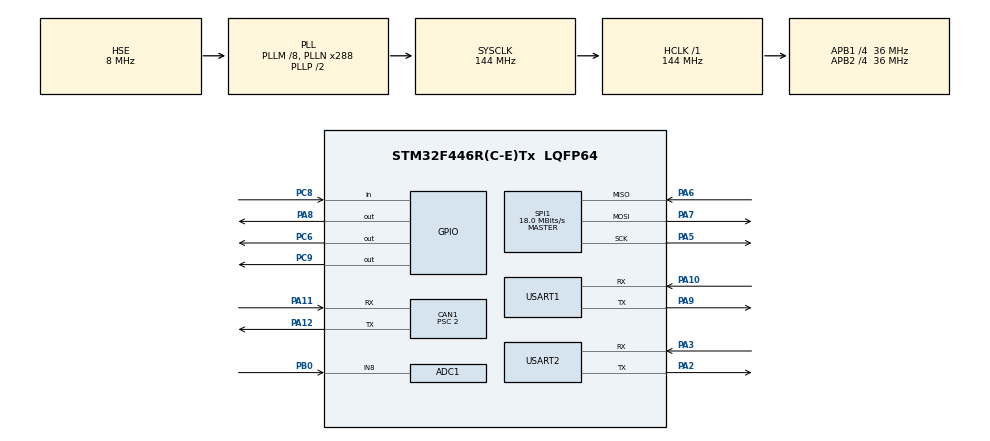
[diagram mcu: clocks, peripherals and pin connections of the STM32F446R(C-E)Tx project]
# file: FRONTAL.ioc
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ADC1.Channel-0\#ChannelRegularConversion=ADC_CHANNEL_8
ADC1.ContinuousConvMode=ENABLE
ADC1.DMAContinuousRequests=ENABLE
ADC1.NbrOfConversion=1
ADC1.NbrOfConversionFlag=1
ADC1.Rank-0\#ChannelRegularConversion=1
ADC1.SamplingTime-0\#ChannelRegularConversion=ADC_SAMPLETIME_3CYCLES
ADC1.ScanConvMode=ENABLE
ADC1.master=1
CAN1.AWUM=ENABLE
CAN1.BS1=CAN_BS1_12TQ
CAN1.BS2=CAN_BS2_5TQ
CAN1.CalculateTimeQuantum=55.55555555555556
CAN1.Prescaler=2
Dma.ADC1.0.Direction=DMA_PERIPH_TO_MEMORY
Dma.ADC1.0.FIFOMode=DMA_FIFOMODE_DISABLE
Dma.ADC1.0.Instance=DMA2_Stream0
Dma.ADC1.0.MemDataAlignment=DMA_MDATAALIGN_HALFWORD
Dma.ADC1.0.MemInc=DMA_MINC_ENABLE
Dma.ADC1.0.Mode=DMA_NORMAL
Dma.ADC1.0.PeriphDataAlignment=DMA_PDATAALIGN_HALFWORD
Dma.ADC1.0.PeriphInc=DMA_PINC_DISABLE
Dma.ADC1.0.Priority=DMA_PRIORITY_LOW
Dma.Request0=ADC1
Mcu.Family=STM32F4
Mcu.Name=STM32F446R(C-E)Tx
Mcu.Package=LQFP64
NVIC.ADC_IRQn=true\:0\:0\:false\:true\:true\:5\:true
NVIC.CAN1_RX0_IRQn=true\:0\:0\:false\:true\:true\:2\:true
NVIC.CAN1_RX1_IRQn=true\:0\:0\:false\:true\:true\:3\:true
NVIC.CAN1_SCE_IRQn=true\:0\:0\:false\:true\:true\:4\:true
NVIC.CAN1_TX_IRQn=true\:0\:0\:false\:true\:true\:1\:true
NVIC.DMA2_Stream0_IRQn=true\:0\:0\:false\:false\:true\:false
NVIC.PriorityGroup=NVIC_PRIORITYGROUP_4
NVIC.TIM2_IRQn=true\:0\:0\:false\:true\:true\:6\:true
NVIC.TIM4_IRQn=true\:0\:0\:false\:true\:true\:10\:true
NVIC.TIM5_IRQn=true\:0\:0\:false\:true\:true\:9\:true
NVIC.TIM6_DAC_IRQn=true\:0\:0\:false\:true\:true\:8\:true
NVIC.TIM7_IRQn=true\:0\:0\:false\:true\:true\:7\:true
PA10.Mode=Asynchronous
PA10.Signal=USART1_RX
PA11.GPIO_PuPd=GPIO_PULLUP
PA11.Mode=Master
PA11.Signal=CAN1_RX
PA12.Mode=Master
PA12.Signal=CAN1_TX
PA2.Mode=Asynchronous
PA2.Signal=USART2_TX
PA3.Mode=Asynchronous
PA3.Signal=USART2_RX
PA5.Mode=Full_Duplex_Master
PA5.Signal=SPI1_SCK
PA6.Mode=Full_Duplex_Master
PA6.Signal=SPI1_MISO
PA7.Mode=Full_Duplex_Master
PA7.Signal=SPI1_MOSI
PA8.GPIO_Speed=GPIO_SPEED_FREQ_VERY_HIGH
PA8.Signal=GPIO_Output
PA9.Mode=Asynchronous
PA9.Signal=USART1_TX
PB0.Signal=ADCx_IN8
PC6.GPIO_Speed=GPIO_SPEED_FREQ_VERY_HIGH
PC6.Signal=GPIO_Output
PC8.Signal=GPIO_Input
PC9.GPIO_Speed=GPIO_SPEED_FREQ_VERY_HIGH
PC9.Signal=GPIO_Output
PH0-OSC_IN.Mode=HSE-External-Clock-Source
PH0-OSC_IN.Signal=RCC_OSC_IN
PH1-OSC_OUT.Mode=HSE-External-Clock-Source
PH1-OSC_OUT.Signal=RCC_OSC_OUT
ProjectManager.HeapSize=0x200
ProjectManager.StackSize=0x400
ProjectManager.TargetToolchain=SW4STM32
RCC.AHBFreq_Value=144000000
RCC.APB1CLKDivider=RCC_HCLK_DIV4
RCC.APB1Freq_Value=36000000
RCC.APB1TimFreq_Value=72000000
RCC.APB2CLKDivider=RCC_HCLK_DIV4
RCC.APB2Freq_Value=36000000
RCC.APB2TimFreq_Value=72000000
RCC.CortexFreq_Value=144000000
RCC.HCLKFreq_Value=144000000
RCC.HSE_VALUE=8000000
RCC.PLLM=8
RCC.PLLN=288
RCC.PLLSourceVirtual=RCC_PLLSOURCE_HSE
RCC.SYSCLKFreq_VALUE=144000000
RCC.SYSCLKSource=RCC_SYSCLKSOURCE_PLLCLK
RCC.USBFreq_Value=144000000
RCC.VCOOutputFreq_Value=288000000
SH.ADCx_IN8.0=ADC1_IN8,IN8
SPI1.BaudRatePrescaler=SPI_BAUDRATEPRESCALER_2
SPI1.CalculateBaudRate=18.0 MBits/s
SPI1.Direction=SPI_DIRECTION_2LINES
SPI1.Mode=SPI_MODE_MASTER
SPI1.VirtualType=VM_MASTER
TIM2.Period=1000
TIM2.Prescaler=36
TIM3.Period=65500
TIM3.Prescaler=18
TIM4.Period=2000
TIM4.Prescaler=3600
TIM5.Period=2000
TIM5.Prescaler=3600
TIM6.Period=2000
TIM6.Prescaler=3600
TIM7.Period=2000
TIM7.Prescaler=3600
USART1.VirtualMode=VM_ASYNC
USART2.VirtualMode=VM_ASYNC
VP_TIM2_VS_ClockSourceINT.Mode=Internal
VP_TIM2_VS_ClockSourceITR.Mode=TriggerSource_ITR0
VP_TIM3_VS_ClockSourceINT.Mode=Internal
VP_TIM4_VS_ClockSourceINT.Mode=Internal
VP_TIM5_VS_ClockSourceINT.Mode=Internal
VP_TIM6_VS_ClockSourceINT.Mode=Enable_Timer
VP_TIM7_VS_ClockSourceINT.Mode=Enable_Timer
board=custom

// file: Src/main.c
/**
  ******************************************************************************
  * @file           : main.c
  * @brief          : Main program body
  ******************************************************************************
  ** This notice applies to any and all portions of this file
  * that are not between comment pairs USER CODE BEGIN and
  * USER CODE END. Other portions of this file, whether
  * inserted by the user or by software development tools
  * are owned by their respective copyright owners.
  *
  * COPYRIGHT(c) 2018 STMicroelectronics
  *
  * Redistribution and use in source and binary forms, with or without modification,
  * are permitted provided that the following conditions are met:
  *   1. Redistributions of source code must retain the above copyright notice,
  *      this list of conditions and the following disclaimer.
  *   2. Redistributions in binary form must reproduce the above copyright notice,
  *      this list of conditions and the following disclaimer in the documentation
  *      and/or other materials provided with the distribution.
  *   3. Neither the name of STMicroelectronics nor the names of its contributors
  *      may be used to endorse or promote products derived from this software
  *      without specific prior written permission.
  *
  * THIS SOFTWARE IS PROVIDED BY THE COPYRIGHT HOLDERS AND CONTRIBUTORS "AS IS"
  * AND ANY EXPRESS OR IMPLIED WARRANTIES, INCLUDING, BUT NOT LIMITED TO, THE
  * IMPLIED WARRANTIES OF MERCHANTABILITY AND FITNESS FOR A PARTICULAR PURPOSE ARE
  * DISCLAIMED. IN NO EVENT SHALL THE COPYRIGHT HOLDER OR CONTRIBUTORS BE LIABLE
  * FOR ANY DIRECT, INDIRECT, INCIDENTAL, SPECIAL, EXEMPLARY, OR CONSEQUENTIAL
  * DAMAGES (INCLUDING, BUT NOT LIMITED TO, PROCUREMENT OF SUBSTITUTE GOODS OR
  * SERVICES; LOSS OF USE, DATA, OR PROFITS; OR BUSINESS INTERRUPTION) HOWEVER
  * CAUSED AND ON ANY THEORY OF LIABILITY, WHETHER IN CONTRACT, STRICT LIABILITY,
  * OR TORT (INCLUDING NEGLIGENCE OR OTHERWISE) ARISING IN ANY WAY OUT OF THE USE
  * OF THIS SOFTWARE, EVEN IF ADVISED OF THE POSSIBILITY OF SUCH DAMAGE.
  *
  ******************************************************************************
  */
#include "main.h"
#include "stm32f4xx_hal.h"

/* USER CODE BEGIN Includes */
#include "Eagle_TRT.h"
#include "string.h"
#include "stdio.h"
#include "stdlib.h"
#include <inttypes.h>
#include "stm32f4xx_hal_gpio.h"
#include "stm32f4xx_it.h"
#include <math.h>
/* USER CODE END Includes */

ADC_HandleTypeDef hadc1;
DMA_HandleTypeDef hdma_adc1;

CAN_HandleTypeDef hcan1;

SPI_HandleTypeDef hspi1;

TIM_HandleTypeDef htim2;
TIM_HandleTypeDef htim3;
TIM_HandleTypeDef htim4;
TIM_HandleTypeDef htim5;
TIM_HandleTypeDef htim6;
TIM_HandleTypeDef htim7;

UART_HandleTypeDef huart1;
UART_HandleTypeDef huart2;

/* USER CODE BEGIN PV */
/* Private variables ---------------------------------------------------------*/

TIM_HandleTypeDef s_TimerInstance = {.Instance = TIM2};
TIM_HandleTypeDef a_TimerInstance = {.Instance = TIM3};
TIM_HandleTypeDef a_TimerInstance4 = {.Instance = TIM4};
TIM_HandleTypeDef a_TimerInstance5 = {.Instance = TIM5};
TIM_HandleTypeDef a_TimerInstance6 = {.Instance = TIM6};
TIM_HandleTypeDef a_TimerInstance7 = {.Instance = TIM7};

CAN_RxHeaderTypeDef RxHeader;
CAN_FilterTypeDef sFilter;
HAL_CAN_StateTypeDef state;
uint32_t full;
int val0_100, val1_100;
uint32_t valMax2, valMin2, val2rang;
uint32_t ADC_buffer[3], val[3];
uint8_t CheckControl[4];

char val0[256];
char value_Error[256];
/* USER CODE END PV */

void SystemClock_Config(void);
static void MX_GPIO_Init(void);
static void MX_DMA_Init(void);
static void MX_USART2_UART_Init(void);
static void MX_CAN1_Init(void);
static void MX_SPI1_Init(void);
static void MX_ADC1_Init(void);
static void MX_USART1_UART_Init(void);
static void MX_TIM2_Init(void);
static void MX_TIM3_Init(void);
static void MX_TIM4_Init(void);
static void MX_TIM5_Init(void);
static void MX_TIM6_Init(void);
static void MX_TIM7_Init(void);
static void MX_NVIC_Init(void);

/* USER CODE BEGIN PFP */
/* Private function prototypes -----------------------------------------------*/
/*
 * Error number 1 occur when the board does not receive data from the GPS like if the TX (of the GPS) cable is not connected
 * Error number 2 occur when the received data cannot be read from the board
 */

//GPS-->> Board
//RX -->> D2 = PA10
//TX -->> D8 = PA9

char requested_data_[50];
char bufferRX[100];
char bufferRX_prec[100];
int len_ = 5;
char sentences_[5][5] = {{"GPRMA"},{"GPRMC"},{"GPVTG"},{"GPVBW"},{"GPGGA"}};
int baud = 9600;
int fix = 0;//if the GPS is connected to satellites is 1 else is 0 if not connected else is -1 if I didn't found the data
int counter_A = 0;
int counter_B = 0;
int Error1 = 0;
int Error2 = 0;

//$GPRMC,225446,A,4916.45,N,12311.12,W,000.5,054.7,191194,020.3,E*68
//sentence example
/* USER CODE END PFP */

/* USER CODE BEGIN 0 */
void HAL_ADC_ConvCpltCallback(ADC_HandleTypeDef* hadc)
{
	for (int i = 0; i < 1; i++)
	{
		val[i] = ADC_buffer[i];
	}
}

int Error;

char G_ok[256] = "Gyro is OK!!\r\n";
char A_ok[256] = "Axel is OK!!\r\n";
char value_Error[256];
char value_G[256];
char value_A[256];

double encoder_speed = 0;
double array_angles[20];

float x_g_offset = 0, y_g_offset = 0, z_g_offset = 0;
float x_a_offset = 0, y_a_offset = 0, z_a_offset = 0;
//float val_g_x, val_g_y, val_g_z;
//float val_a_x, val_a_y, val_a_z;
float x_g_axis, y_g_axis, z_g_axis;
float x_a_axis, y_a_axis, z_a_axis;

/* USER CODE END 0 */

int main(void)
{

  /* MCU Configuration----------------------------------------------------------*/

  /* Reset of all peripherals, Initializes the Flash interface and the Systick. */
  HAL_Init();

  /* Configure the system clock */
  SystemClock_Config();

  /* Initialize all configured peripherals */
  MX_GPIO_Init();
  MX_DMA_Init();
  MX_USART2_UART_Init();
  MX_CAN1_Init();
  MX_SPI1_Init();
  MX_ADC1_Init();
  MX_USART1_UART_Init();
  MX_TIM2_Init();
  MX_TIM3_Init();
  MX_TIM4_Init();
  MX_TIM5_Init();
  MX_TIM6_Init();
  MX_TIM7_Init();

  /* Initialize interrupts */
  MX_NVIC_Init();
  /* USER CODE BEGIN 2 */
  valMax2 = 4095;
  valMin2 = 2340;
  val2rang = abs(valMax2 - valMin2);

  ///GPS///

  GPS_INIT(&huart1);
  gyro_init(&hspi1);
  magn_accel_init(&hspi1);

  GPS_Awake();

  double speed = 0;
  double latitude;
  double longitude;
  char txt[20];

  char* char_speed;
  char* char_latitude;
  char* char_longitude;
  char* char_N;
  char* char_W;

  gyro_calib(&hspi1, &x_g_offset, &y_g_offset, &z_g_offset);
  accel_calib(&hspi1, &x_a_offset, &y_a_offset, &z_a_offset);

  sFilter.FilterMode = CAN_FILTERMODE_IDMASK;
  sFilter.FilterIdLow = 0;
  sFilter.FilterIdHigh = 0;
  sFilter.FilterMaskIdHigh = 0;
  sFilter.FilterMaskIdLow = 0;
  sFilter.FilterFIFOAssignment = CAN_FILTER_FIFO0;
  sFilter.FilterBank = 0;
  sFilter.FilterScale  = CAN_FILTERSCALE_16BIT;
  sFilter.FilterActivation = ENABLE;
  HAL_CAN_ConfigFilter(&hcan1, &sFilter);

  HAL_CAN_Start(&hcan1);

  HAL_CAN_ActivateNotification(&hcan1, CAN1_RX0_IRQn);
  HAL_CAN_ActivateNotification(&hcan1, CAN1_RX1_IRQn);

  HAL_TIM_Base_Start(&htim2);
  HAL_TIM_Base_Start(&htim3);
  HAL_TIM_Base_Start(&htim4);
  HAL_TIM_Base_Start(&htim5);
  HAL_TIM_Base_Start(&htim6);
  HAL_TIM_Base_Start(&htim7);

  __HAL_TIM_SET_COUNTER(&a_TimerInstance, 0);
  __HAL_TIM_SET_COUNTER(&s_TimerInstance, 0);
  __HAL_TIM_SET_COUNTER(&a_TimerInstance4, 333);
  __HAL_TIM_SET_COUNTER(&a_TimerInstance5, 666);
  __HAL_TIM_SET_COUNTER(&a_TimerInstance6, 0);
  __HAL_TIM_SET_COUNTER(&a_TimerInstance7, 0);

  HAL_TIM_Base_Start_IT(&htim2);
  HAL_TIM_Base_Start_IT(&htim4);
  HAL_TIM_Base_Start_IT(&htim5);
  HAL_TIM_Base_Start_IT(&htim6);
  HAL_TIM_Base_Start_IT(&htim7);

  /* USER CODE END 2 */

  /* Infinite loop */
  while (1)
  {

  /* USER CODE BEGIN 3 */
	  Error = 0;
	  uint8_t CanSendMSG[8];
	  uint8_t RxData[8];

	  ///Check for Errors
	  Error = LSMD9S0_check(&hspi1); //IMU IS DISCONNECTED? 0 = 0K ; 1 = G_NOTOK ; 2 = A_NOTOK

	  ///GPS///
	  //delete all the characters in the buffer
	  for(int i = 0; i < 100; i++){
		  bufferRX[i] = '-';
	  }

	  //receive the data
	  HAL_UART_Receive(&huart1, (uint8_t*)bufferRX, strlen(bufferRX), 15);
	  //print(bufferRX);

	  if(Error1 == 0 || Error2 == 0){
		  //if the data has a known sentence, get the requested data in the right position
		  switch(Get_Sentence(bufferRX, sentences_, len_)){
			case 0:										//GPRMA
				break;

			case 1:										//GPRMC
				break;

			case 2:										//GPVTG
				char_speed = Get_Requested_Data(bufferRX, 7, requested_data_);
				speed = atof(char_speed);
				speed = speed * 100; //2 decimals

				speed = (int)speed;

				int16_t speed_Send = speed;

				//GPS Velocity
				CanSendMSG[0] = 0x03;
				CanSendMSG[1] = speed_Send / 256;
				CanSendMSG[2] = speed_Send % 256;
				CanSendMSG[3] = 0;
				CanSendMSG[4] = 0;
				CanSendMSG[5] = 0;
				CanSendMSG[6] = Error1;
				CanSendMSG[7] = 0;

				CAN_Send(&hcan1, 0xD0, CanSendMSG, 8);

				break;

			case 3:										//GPVBW
				break;

			case 4:
				/*char_latitude = Get_Requested_Data(2);
				latitude = atof(char_latitude);
				latitude = latitude * 10000;

				char_N = Get_Requested_Data(3);

				char_longitude = Get_Requested_Data(4);
				longitude = atof(char_longitude);
				longitude = longitude * 10000;

				char_W = Get_Requested_Data(5);

				//sprintf(txt, "%d", (int)latitude);

				if(latitude != 0){
					//print(txt);
				}
				//print(txt);*/

				break;

			default:
			  break;
		  }

	  }

	  //sprintf(txt, "%d \t %d \t %d \t %d \t %d", (int)(encoder_speed * 100), (int)(speed*100), (int)val0_100, (int)val[0], (int)y_a_axis);
	  //print(&huart2, txt);

	  strcpy(bufferRX_prec, bufferRX);
  }
  /* USER CODE END 3 */

}

void SystemClock_Config(void)
{

  RCC_OscInitTypeDef RCC_OscInitStruct;
  RCC_ClkInitTypeDef RCC_ClkInitStruct;

    /**Configure the main internal regulator output voltage
    */
  __HAL_RCC_PWR_CLK_ENABLE();

  __HAL_PWR_VOLTAGESCALING_CONFIG(PWR_REGULATOR_VOLTAGE_SCALE1);

    /**Initializes the CPU, AHB and APB busses clocks
    */
  RCC_OscInitStruct.OscillatorType = RCC_OSCILLATORTYPE_HSE;
  RCC_OscInitStruct.HSEState = RCC_HSE_BYPASS;
  RCC_OscInitStruct.PLL.PLLState = RCC_PLL_ON;
  RCC_OscInitStruct.PLL.PLLSource = RCC_PLLSOURCE_HSE;
  RCC_OscInitStruct.PLL.PLLM = 8;
  RCC_OscInitStruct.PLL.PLLN = 288;
  RCC_OscInitStruct.PLL.PLLP = RCC_PLLP_DIV2;
  RCC_OscInitStruct.PLL.PLLQ = 2;
  RCC_OscInitStruct.PLL.PLLR = 2;
  if (HAL_RCC_OscConfig(&RCC_OscInitStruct) != HAL_OK)
  {
    _Error_Handler(__FILE__, __LINE__);
  }

    /**Initializes the CPU, AHB and APB busses clocks
    */
  RCC_ClkInitStruct.ClockType = RCC_CLOCKTYPE_HCLK|RCC_CLOCKTYPE_SYSCLK
                              |RCC_CLOCKTYPE_PCLK1|RCC_CLOCKTYPE_PCLK2;
  RCC_ClkInitStruct.SYSCLKSource = RCC_SYSCLKSOURCE_PLLCLK;
  RCC_ClkInitStruct.AHBCLKDivider = RCC_SYSCLK_DIV1;
  RCC_ClkInitStruct.APB1CLKDivider = RCC_HCLK_DIV4;
  RCC_ClkInitStruct.APB2CLKDivider = RCC_HCLK_DIV4;

  if (HAL_RCC_ClockConfig(&RCC_ClkInitStruct, FLASH_LATENCY_4) != HAL_OK)
  {
    _Error_Handler(__FILE__, __LINE__);
  }

    /**Configure the Systick interrupt time
    */
  HAL_SYSTICK_Config(HAL_RCC_GetHCLKFreq()/1000);

    /**Configure the Systick
    */
  HAL_SYSTICK_CLKSourceConfig(SYSTICK_CLKSOURCE_HCLK);

  /* SysTick_IRQn interrupt configuration */
  HAL_NVIC_SetPriority(SysTick_IRQn, 0, 0);
}

/**
  * @brief NVIC Configuration.
  * @retval None
  */
static void MX_NVIC_Init(void)
{
  /* CAN1_TX_IRQn interrupt configuration */
  HAL_NVIC_SetPriority(CAN1_TX_IRQn, 0, 0);
  HAL_NVIC_EnableIRQ(CAN1_TX_IRQn);
  /* CAN1_RX0_IRQn interrupt configuration */
  HAL_NVIC_SetPriority(CAN1_RX0_IRQn, 0, 0);
  HAL_NVIC_EnableIRQ(CAN1_RX0_IRQn);
  /* CAN1_RX1_IRQn interrupt configuration */
  HAL_NVIC_SetPriority(CAN1_RX1_IRQn, 0, 0);
  HAL_NVIC_EnableIRQ(CAN1_RX1_IRQn);
  /* CAN1_SCE_IRQn interrupt configuration */
  HAL_NVIC_SetPriority(CAN1_SCE_IRQn, 0, 0);
  HAL_NVIC_EnableIRQ(CAN1_SCE_IRQn);
  /* ADC_IRQn interrupt configuration */
  HAL_NVIC_SetPriority(ADC_IRQn, 0, 0);
  HAL_NVIC_EnableIRQ(ADC_IRQn);
  /* TIM2_IRQn interrupt configuration */
  HAL_NVIC_SetPriority(TIM2_IRQn, 0, 0);
  HAL_NVIC_EnableIRQ(TIM2_IRQn);
  /* TIM7_IRQn interrupt configuration */
  HAL_NVIC_SetPriority(TIM7_IRQn, 0, 0);
  HAL_NVIC_EnableIRQ(TIM7_IRQn);
  /* TIM6_DAC_IRQn interrupt configuration */
  HAL_NVIC_SetPriority(TIM6_DAC_IRQn, 0, 0);
  HAL_NVIC_EnableIRQ(TIM6_DAC_IRQn);
  /* TIM5_IRQn interrupt configuration */
  HAL_NVIC_SetPriority(TIM5_IRQn, 0, 0);
  HAL_NVIC_EnableIRQ(TIM5_IRQn);
  /* TIM4_IRQn interrupt configuration */
  HAL_NVIC_SetPriority(TIM4_IRQn, 0, 0);
  HAL_NVIC_EnableIRQ(TIM4_IRQn);
}

/* ADC1 init function */
static void MX_ADC1_Init(void)
{

  ADC_ChannelConfTypeDef sConfig;

    /**Configure the global features of the ADC (Clock, Resolution, Data Alignment and number of conversion)
    */
  hadc1.Instance = ADC1;
  hadc1.Init.ClockPrescaler = ADC_CLOCK_SYNC_PCLK_DIV2;
  hadc1.Init.Resolution = ADC_RESOLUTION_12B;
  hadc1.Init.ScanConvMode = ENABLE;
  hadc1.Init.ContinuousConvMode = ENABLE;
  hadc1.Init.DiscontinuousConvMode = DISABLE;
  hadc1.Init.ExternalTrigConvEdge = ADC_EXTERNALTRIGCONVEDGE_NONE;
  hadc1.Init.ExternalTrigConv = ADC_SOFTWARE_START;
  hadc1.Init.DataAlign = ADC_DATAALIGN_RIGHT;
  hadc1.Init.NbrOfConversion = 1;
  hadc1.Init.DMAContinuousRequests = ENABLE;
  hadc1.Init.EOCSelection = ADC_EOC_SINGLE_CONV;
  if (HAL_ADC_Init(&hadc1) != HAL_OK)
  {
    _Error_Handler(__FILE__, __LINE__);
  }

    /**Configure for the selected ADC regular channel its corresponding rank in the sequencer and its sample time.
    */
  sConfig.Channel = ADC_CHANNEL_8;
  sConfig.Rank = 1;
  sConfig.SamplingTime = ADC_SAMPLETIME_3CYCLES;
  if (HAL_ADC_ConfigChannel(&hadc1, &sConfig) != HAL_OK)
  {
    _Error_Handler(__FILE__, __LINE__);
  }

}

/* CAN1 init function */
static void MX_CAN1_Init(void)
{

  hcan1.Instance = CAN1;
  hcan1.Init.Prescaler = 2;
  hcan1.Init.Mode = CAN_MODE_NORMAL;
  hcan1.Init.SyncJumpWidth = CAN_SJW_1TQ;
  hcan1.Init.TimeSeg1 = CAN_BS1_12TQ;
  hcan1.Init.TimeSeg2 = CAN_BS2_5TQ;
  hcan1.Init.TimeTriggeredMode = DISABLE;
  hcan1.Init.AutoBusOff = DISABLE;
  hcan1.Init.AutoWakeUp = ENABLE;
  hcan1.Init.AutoRetransmission = DISABLE;
  hcan1.Init.ReceiveFifoLocked = DISABLE;
  hcan1.Init.TransmitFifoPriority = DISABLE;
  if (HAL_CAN_Init(&hcan1) != HAL_OK)
  {
    _Error_Handler(__FILE__, __LINE__);
  }

}

/* SPI1 init function */
static void MX_SPI1_Init(void)
{

  /* SPI1 parameter configuration*/
  hspi1.Instance = SPI1;
  hspi1.Init.Mode = SPI_MODE_MASTER;
  hspi1.Init.Direction = SPI_DIRECTION_2LINES;
  hspi1.Init.DataSize = SPI_DATASIZE_8BIT;
  hspi1.Init.CLKPolarity = SPI_POLARITY_LOW;
  hspi1.Init.CLKPhase = SPI_PHASE_1EDGE;
  hspi1.Init.NSS = SPI_NSS_SOFT;
  hspi1.Init.BaudRatePrescaler = SPI_BAUDRATEPRESCALER_2;
  hspi1.Init.FirstBit = SPI_FIRSTBIT_MSB;
  hspi1.Init.TIMode = SPI_TIMODE_DISABLE;
  hspi1.Init.CRCCalculation = SPI_CRCCALCULATION_DISABLE;
  hspi1.Init.CRCPolynomial = 10;
  if (HAL_SPI_Init(&hspi1) != HAL_OK)
  {
    _Error_Handler(__FILE__, __LINE__);
  }

}

/* TIM2 init function */
static void MX_TIM2_Init(void)
{

  TIM_ClockConfigTypeDef sClockSourceConfig;
  TIM_SlaveConfigTypeDef sSlaveConfig;
  TIM_MasterConfigTypeDef sMasterConfig;

  htim2.Instance = TIM2;
  htim2.Init.Prescaler = 36;
  htim2.Init.CounterMode = TIM_COUNTERMODE_UP;
  htim2.Init.Period = 2000;
  htim2.Init.ClockDivision = TIM_CLOCKDIVISION_DIV1;
  if (HAL_TIM_Base_Init(&htim2) != HAL_OK)
  {
    _Error_Handler(__FILE__, __LINE__);
  }

  sClockSourceConfig.ClockSource = TIM_CLOCKSOURCE_INTERNAL;
  if (HAL_TIM_ConfigClockSource(&htim2, &sClockSourceConfig) != HAL_OK)
  {
    _Error_Handler(__FILE__, __LINE__);
  }

  sSlaveConfig.SlaveMode = TIM_SLAVEMODE_DISABLE;
  sSlaveConfig.InputTrigger = TIM_TS_ITR0;
  if (HAL_TIM_SlaveConfigSynchronization(&htim2, &sSlaveConfig) != HAL_OK)
  {
    _Error_Handler(__FILE__, __LINE__);
  }

  sMasterConfig.MasterOutputTrigger = TIM_TRGO_RESET;
  sMasterConfig.MasterSlaveMode = TIM_MASTERSLAVEMODE_DISABLE;
  if (HAL_TIMEx_MasterConfigSynchronization(&htim2, &sMasterConfig) != HAL_OK)
  {
    _Error_Handler(__FILE__, __LINE__);
  }

}

/* TIM3 init function */
static void MX_TIM3_Init(void)
{

  TIM_ClockConfigTypeDef sClockSourceConfig;
  TIM_MasterConfigTypeDef sMasterConfig;

  htim3.Instance = TIM3;
  htim3.Init.Prescaler = 18;
  htim3.Init.CounterMode = TIM_COUNTERMODE_UP;
  htim3.Init.Period = 65500;
  htim3.Init.ClockDivision = TIM_CLOCKDIVISION_DIV1;
  if (HAL_TIM_Base_Init(&htim3) != HAL_OK)
  {
    _Error_Handler(__FILE__, __LINE__);
  }

  sClockSourceConfig.ClockSource = TIM_CLOCKSOURCE_INTERNAL;
  if (HAL_TIM_ConfigClockSource(&htim3, &sClockSourceConfig) != HAL_OK)
  {
    _Error_Handler(__FILE__, __LINE__);
  }

  sMasterConfig.MasterOutputTrigger = TIM_TRGO_RESET;
  sMasterConfig.MasterSlaveMode = TIM_MASTERSLAVEMODE_DISABLE;
  if (HAL_TIMEx_MasterConfigSynchronization(&htim3, &sMasterConfig) != HAL_OK)
  {
    _Error_Handler(__FILE__, __LINE__);
  }

}

/* TIM4 init function */
static void MX_TIM4_Init(void)
{

  TIM_ClockConfigTypeDef sClockSourceConfig;
  TIM_MasterConfigTypeDef sMasterConfig;

  htim4.Instance = TIM4;
  htim4.Init.Prescaler = 3600;
  htim4.Init.CounterMode = TIM_COUNTERMODE_UP;
  htim4.Init.Period = 2000;
  htim4.Init.ClockDivision = TIM_CLOCKDIVISION_DIV1;
  if (HAL_TIM_Base_Init(&htim4) != HAL_OK)
  {
    _Error_Handler(__FILE__, __LINE__);
  }

  sClockSourceConfig.ClockSource = TIM_CLOCKSOURCE_INTERNAL;
  if (HAL_TIM_ConfigClockSource(&htim4, &sClockSourceConfig) != HAL_OK)
  {
    _Error_Handler(__FILE__, __LINE__);
  }

  sMasterConfig.MasterOutputTrigger = TIM_TRGO_RESET;
  sMasterConfig.MasterSlaveMode = TIM_MASTERSLAVEMODE_DISABLE;
  if (HAL_TIMEx_MasterConfigSynchronization(&htim4, &sMasterConfig) != HAL_OK)
  {
    _Error_Handler(__FILE__, __LINE__);
  }

}

/* TIM5 init function */
static void MX_TIM5_Init(void)
{

  TIM_ClockConfigTypeDef sClockSourceConfig;
  TIM_MasterConfigTypeDef sMasterConfig;

  htim5.Instance = TIM5;
  htim5.Init.Prescaler = 3600;
  htim5.Init.CounterMode = TIM_COUNTERMODE_UP;
  htim5.Init.Period = 2000;
  htim5.Init.ClockDivision = TIM_CLOCKDIVISION_DIV1;
  if (HAL_TIM_Base_Init(&htim5) != HAL_OK)
  {
    _Error_Handler(__FILE__, __LINE__);
  }

  sClockSourceConfig.ClockSource = TIM_CLOCKSOURCE_INTERNAL;
  if (HAL_TIM_ConfigClockSource(&htim5, &sClockSourceConfig) != HAL_OK)
  {
    _Error_Handler(__FILE__, __LINE__);
  }

  sMasterConfig.MasterOutputTrigger = TIM_TRGO_RESET;
  sMasterConfig.MasterSlaveMode = TIM_MASTERSLAVEMODE_DISABLE;
  if (HAL_TIMEx_MasterConfigSynchronization(&htim5, &sMasterConfig) != HAL_OK)
  {
    _Error_Handler(__FILE__, __LINE__);
  }

}

/* TIM6 init function */
static void MX_TIM6_Init(void)
{

  TIM_MasterConfigTypeDef sMasterConfig;

  htim6.Instance = TIM6;
  htim6.Init.Prescaler = 3600;
  htim6.Init.CounterMode = TIM_COUNTERMODE_UP;
  htim6.Init.Period = 2000;
  if (HAL_TIM_Base_Init(&htim6) != HAL_OK)
  {
    _Error_Handler(__FILE__, __LINE__);
  }

  sMasterConfig.MasterOutputTrigger = TIM_TRGO_RESET;
  sMasterConfig.MasterSlaveMode = TIM_MASTERSLAVEMODE_DISABLE;
  if (HAL_TIMEx_MasterConfigSynchronization(&htim6, &sMasterConfig) != HAL_OK)
  {
    _Error_Handler(__FILE__, __LINE__);
  }

}

/* TIM7 init function */
static void MX_TIM7_Init(void)
{

  TIM_MasterConfigTypeDef sMasterConfig;

  htim7.Instance = TIM7;
  htim7.Init.Prescaler = 3600;
  htim7.Init.CounterMode = TIM_COUNTERMODE_UP;
  htim7.Init.Period = 2000;
  if (HAL_TIM_Base_Init(&htim7) != HAL_OK)
  {
    _Error_Handler(__FILE__, __LINE__);
  }

  sMasterConfig.MasterOutputTrigger = TIM_TRGO_RESET;
  sMasterConfig.MasterSlaveMode = TIM_MASTERSLAVEMODE_DISABLE;
  if (HAL_TIMEx_MasterConfigSynchronization(&htim7, &sMasterConfig) != HAL_OK)
  {
    _Error_Handler(__FILE__, __LINE__);
  }

}

/* USART1 init function */
static void MX_USART1_UART_Init(void)
{

  huart1.Instance = USART1;
  huart1.Init.BaudRate = 115200;
  huart1.Init.WordLength = UART_WORDLENGTH_8B;
  huart1.Init.StopBits = UART_STOPBITS_1;
  huart1.Init.Parity = UART_PARITY_NONE;
  huart1.Init.Mode = UART_MODE_TX_RX;
  huart1.Init.HwFlowCtl = UART_HWCONTROL_NONE;
  huart1.Init.OverSampling = UART_OVERSAMPLING_16;
  if (HAL_UART_Init(&huart1) != HAL_OK)
  {
    _Error_Handler(__FILE__, __LINE__);
  }

}

/* USART2 init function */
static void MX_USART2_UART_Init(void)
{

  huart2.Instance = USART2;
  huart2.Init.BaudRate = 115200;
  huart2.Init.WordLength = UART_WORDLENGTH_8B;
  huart2.Init.StopBits = UART_STOPBITS_1;
  huart2.Init.Parity = UART_PARITY_NONE;
  huart2.Init.Mode = UART_MODE_TX_RX;
  huart2.Init.HwFlowCtl = UART_HWCONTROL_NONE;
  huart2.Init.OverSampling = UART_OVERSAMPLING_16;
  if (HAL_UART_Init(&huart2) != HAL_OK)
  {
    _Error_Handler(__FILE__, __LINE__);
  }

}

static void MX_DMA_Init(void)
{
  /* DMA controller clock enable */
  __HAL_RCC_DMA2_CLK_ENABLE();

  /* DMA interrupt init */
  /* DMA2_Stream0_IRQn interrupt configuration */
  HAL_NVIC_SetPriority(DMA2_Stream0_IRQn, 0, 0);
  HAL_NVIC_EnableIRQ(DMA2_Stream0_IRQn);

}

/** Configure pins as
        * Analog
        * Input
        * Output
        * EVENT_OUT
        * EXTI
*/
static void MX_GPIO_Init(void)
{

  GPIO_InitTypeDef GPIO_InitStruct;

  /* GPIO Ports Clock Enable */
  __HAL_RCC_GPIOH_CLK_ENABLE();
  __HAL_RCC_GPIOA_CLK_ENABLE();
  __HAL_RCC_GPIOB_CLK_ENABLE();
  __HAL_RCC_GPIOC_CLK_ENABLE();

  /*Configure GPIO pin Output Level */
  HAL_GPIO_WritePin(GPIOC, GPIO_PIN_6|GPIO_PIN_9, GPIO_PIN_RESET);

  /*Configure GPIO pin Output Level */
  HAL_GPIO_WritePin(GPIOA, GPIO_PIN_8, GPIO_PIN_RESET);

  /*Configure GPIO pins : PC6 PC9 */
  GPIO_InitStruct.Pin = GPIO_PIN_6|GPIO_PIN_9;
  GPIO_InitStruct.Mode = GPIO_MODE_OUTPUT_PP;
  GPIO_InitStruct.Pull = GPIO_NOPULL;
  GPIO_InitStruct.Speed = GPIO_SPEED_FREQ_VERY_HIGH;
  HAL_GPIO_Init(GPIOC, &GPIO_InitStruct);

  /*Configure GPIO pin : PC8 */
  GPIO_InitStruct.Pin = GPIO_PIN_8;
  GPIO_InitStruct.Mode = GPIO_MODE_INPUT;
  GPIO_InitStruct.Pull = GPIO_NOPULL;
  HAL_GPIO_Init(GPIOC, &GPIO_InitStruct);

  /*Configure GPIO pin : PA8 */
  GPIO_InitStruct.Pin = GPIO_PIN_8;
  GPIO_InitStruct.Mode = GPIO_MODE_OUTPUT_PP;
  GPIO_InitStruct.Pull = GPIO_NOPULL;
  GPIO_InitStruct.Speed = GPIO_SPEED_FREQ_VERY_HIGH;
  HAL_GPIO_Init(GPIOA, &GPIO_InitStruct);

}

/* USER CODE BEGIN 4 */
void HAL_CAN_RxFifo0FullCallback(CAN_HandleTypeDef *hcan){
	///CALIBRATION CODE///
	uint8_t RxData[8];
		  int idsave = CAN_Receive(&hcan1, RxData, 8);
		  uint8_t CanSendMSG[8];

		  if (idsave == 0xBB){
			//  sprintf(val0, "APPS1: %d \r\n", idsave);  //use "%lu" for long, "%d" for int
			  //		  HAL_UART_Transmit(&huart2, (uint8_t*)val0, strlen(val0), 10);
			  if ((RxData[0] == 2) && (RxData[1] == 0)){
				  valMin2 = val[0];
				  //CheckControl[0] = 1;
				  CanSendMSG[0] = 2;
				  CanSendMSG[1] = 0;
				  CanSendMSG[2] = 0;
				  CanSendMSG[3] = 0;
				  CanSendMSG[4] = 0;
				  CanSendMSG[5] = 0;
				  CanSendMSG[6] = 0;
				  CanSendMSG[7] = 0;
				  CAN_Send(&hcan1, 0xBC, CanSendMSG, 8);
			  }
			  if ((RxData[0] == 2) && (RxData[1] == 1)){
				  valMax2 = val[0];
				  //CheckControl[1] = 1;
				  CanSendMSG[0] = 2;
				  CanSendMSG[1] = 1;
				  CanSendMSG[2] = 0;
				  CanSendMSG[3] = 0;
				  CanSendMSG[4] = 0;
				  CanSendMSG[5] = 0;
				  CanSendMSG[6] = 0;
				  CanSendMSG[7] = 0;
				  CAN_Send(&hcan1, 0xBC, CanSendMSG, 8);

			  }
			  val2rang = abs(valMax2 - valMin2);
		 }
}

void HAL_TIM_PeriodElapsedCallback(TIM_HandleTypeDef *htim){
	if(htim == &htim2){
		encoder_tim_interrupt(&htim2, array_angles, &encoder_speed, &htim3, &hcan1);
	}
	if(htim == &htim4){
		read_steering_wheel(&hadc1, 1, valMax2, valMin2, val2rang, ADC_buffer, &hcan1, &val, &val0_100);
	}
	if(htim == &htim5){
		gyro_read(&hspi1, &x_g_axis, &y_g_axis, &z_g_axis, x_g_offset, y_g_offset, z_g_offset, &hcan1);
		accel_read(&hspi1, &x_a_axis, &y_a_axis, &z_a_axis, x_a_offset, y_a_offset, z_a_offset, &hcan1);
	}
	if(htim == &htim7){

	}
}

/* USER CODE END 4 */

void _Error_Handler(char *file, int line)
{
  while(1)
  {
  }
}

/************************ (C) COPYRIGHT STMicroelectronics *****END OF FILE****/
